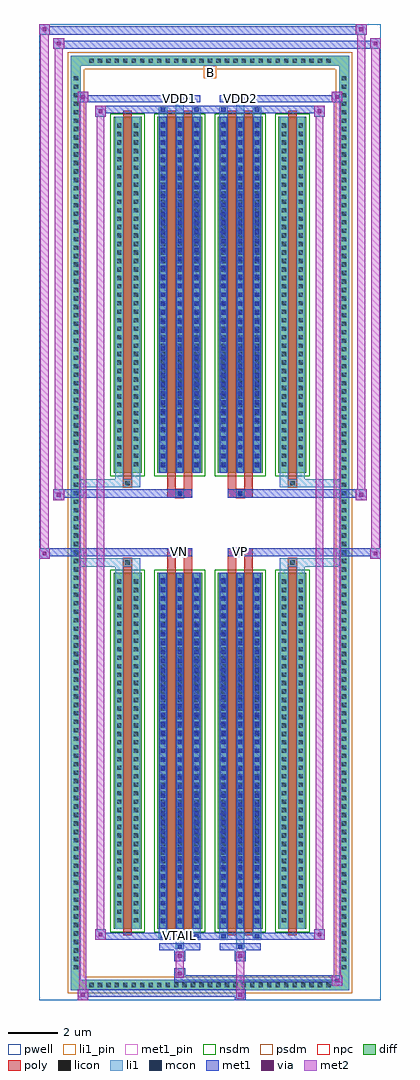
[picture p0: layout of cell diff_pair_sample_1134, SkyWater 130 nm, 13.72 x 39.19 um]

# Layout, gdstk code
import gdstk
lib = gdstk.Library(unit=1e-6, precision=5e-09)
def R(c, l, rs):  # rectangles x0, y0, x1, y1
    for r in rs: c.add(gdstk.rectangle(r[:2], r[2:], *l))
def A(c, l, x, y, w, h, nx, ny, dx, dy):  # array of equal rectangles
    R(c, l, [(x+i*dx, y+j*dy, x+i*dx+w, y+j*dy+h) for i in range(nx) for j in range(ny)])
def P(c, l, *ps):  # polygons
    for p in ps: c.add(gdstk.Polygon(p, *l))
pwell = (64, 44)
diff = (65, 20)
poly = (66, 20)
licon = (66, 44)
li1_pin = (67, 16)
li1 = (67, 20)
mcon = (67, 44)
met1_pin = (68, 16)
met1 = (68, 20)
via = (68, 44)
met2 = (69, 20)
nsdm = (93, 44)
psdm = (94, 20)
npc = (95, 20)

diff_pair_sample_1134 = lib.new_cell('diff_pair_sample_1134')
R(diff_pair_sample_1134, pwell, [(-6.86,-19.16,6.86,20.03), (-4.18,-17.35,-0.01,-0.815), (0.01,-17.35,4.18,-0.815), (-4.18,0.815,-0.01,17.35), (0.01,0.815,4.18,17.35)])
A(diff_pair_sample_1134, diff, -4.965, -18.76, 0.41, 0.41, 29, 2, 0.34, 37.11)
A(diff_pair_sample_1134, diff, -5.59, -18.055, 0.41, 0.41, 1, 106, 0, 0.34)
A(diff_pair_sample_1134, diff, 5.18, -18.055, 0.41, 0.41, 1, 106, 0, 0.34)
R(diff_pair_sample_1134, diff, [(-4.965,-18.76,4.965,-18.35), (-5.59,-18.055,-5.18,18.055), (5.18,-18.055,5.59,18.055), (-3.87,-16.305,-2.75,-2.005), (-2.11,-16.305,-0.32,-2.005), (0.32,-16.305,2.11,-2.005), (2.75,-16.305,3.87,-2.005), (-3.87,2.005,-2.75,16.305), (-2.11,2.005,-0.32,16.305), (0.32,2.005,2.11,16.305), (2.75,2.005,3.87,16.305), (-4.965,18.35,4.965,18.76)])
P(diff_pair_sample_1134, diff, [(5.59,18.76),(-5.59,18.76),(-5.59,-18.35),(-5.18,-18.35),(-5.18,18.35),(5.18,18.35),(5.18,-18.35),(-5.18,-18.35),(-5.59,-18.35),(-5.59,-18.76),(5.59,-18.76)])
R(diff_pair_sample_1134, poly, [(-3.48,-16.555,-3.14,-1.755), (-1.72,-16.555,-1.38,-1.755), (-1.05,-16.555,-0.71,-1.755), (0.71,-16.555,1.05,-1.755), (1.38,-16.555,1.72,-1.755), (3.14,-16.555,3.48,-1.755), (-3.475,-1.755,-3.145,-1.425), (-3.475,-1.755,-3.145,-1.425), (-1.72,-1.755,-1.38,-1.345), (-1.05,-1.755,-0.71,-1.345), (0.71,-1.755,1.05,-1.345), (1.38,-1.755,1.72,-1.345), (3.145,-1.755,3.475,-1.425), (3.145,-1.755,3.475,-1.425), (-1.72,-1.345,-0.71,-1.015), (-1.38,-1.345,-1.05,-1.015), (0.71,-1.345,1.72,-1.015), (1.05,-1.345,1.38,-1.015), (-1.72,1.015,-0.71,1.345), (-1.38,1.015,-1.05,1.345), (0.71,1.015,1.72,1.345), (1.05,1.015,1.38,1.345), (-1.72,1.345,-1.38,1.755), (-1.05,1.345,-0.71,1.755), (0.71,1.345,1.05,1.755), (1.38,1.345,1.72,1.755), (-3.475,1.425,-3.145,1.755), (-3.475,1.425,-3.145,1.755), (3.145,1.425,3.475,1.755), (3.145,1.425,3.475,1.755), (-3.48,1.755,-3.14,16.555), (-1.72,1.755,-1.38,16.555), (-1.05,1.755,-0.71,16.555), (0.71,1.755,1.05,16.555), (1.38,1.755,1.72,16.555), (3.14,1.755,3.48,16.555)])
A(diff_pair_sample_1134, licon, -4.845, -18.64, 0.17, 0.17, 29, 2, 0.34, 37.11)
A(diff_pair_sample_1134, licon, -5.47, -17.935, 0.17, 0.17, 1, 106, 0, 0.34)
A(diff_pair_sample_1134, licon, 5.3, -17.935, 0.17, 0.17, 1, 106, 0, 0.34)
A(diff_pair_sample_1134, licon, -3.73, -16.04, 0.17, 0.17, 1, 41, 0, 0.34)
A(diff_pair_sample_1134, licon, -3.06, -16.04, 0.17, 0.17, 1, 41, 0, 0.34)
A(diff_pair_sample_1134, licon, -1.97, -16.04, 0.17, 0.17, 3, 41, 0.67, 0.34)
A(diff_pair_sample_1134, licon, 0.46, -16.04, 0.17, 0.17, 3, 41, 0.67, 0.34)
A(diff_pair_sample_1134, licon, 2.89, -16.04, 0.17, 0.17, 1, 41, 0, 0.34)
A(diff_pair_sample_1134, licon, 3.56, -16.04, 0.17, 0.17, 1, 41, 0, 0.34)
A(diff_pair_sample_1134, licon, -3.73, 2.27, 0.17, 0.17, 1, 41, 0, 0.34)
A(diff_pair_sample_1134, licon, -3.06, 2.27, 0.17, 0.17, 1, 41, 0, 0.34)
A(diff_pair_sample_1134, licon, -1.97, 2.27, 0.17, 0.17, 3, 41, 0.67, 0.34)
A(diff_pair_sample_1134, licon, 0.46, 2.27, 0.17, 0.17, 3, 41, 0.67, 0.34)
A(diff_pair_sample_1134, licon, 2.89, 2.27, 0.17, 0.17, 1, 41, 0, 0.34)
A(diff_pair_sample_1134, licon, 3.56, 2.27, 0.17, 0.17, 1, 41, 0, 0.34)
R(diff_pair_sample_1134, licon, [(-3.395,-1.675,-3.225,-1.505), (3.225,-1.675,3.395,-1.505), (-1.3,-1.265,-1.13,-1.095), (1.13,-1.265,1.3,-1.095), (-1.3,1.095,-1.13,1.265), (1.13,1.095,1.3,1.265), (-3.395,1.505,-3.225,1.675), (3.225,1.505,3.395,1.675)])
R(diff_pair_sample_1134, li1_pin, [(-0.25,17.85,0.25,18.35)])
A(diff_pair_sample_1134, li1, -4.925, -18.72, 0.33, 0.33, 29, 2, 0.34, 37.11)
A(diff_pair_sample_1134, li1, -5.55, -18.015, 0.33, 0.33, 1, 106, 0, 0.34)
A(diff_pair_sample_1134, li1, 5.22, -18.015, 0.33, 0.33, 1, 106, 0, 0.34)
A(diff_pair_sample_1134, li1, -2.05, -16.305, 0.33, 14.3, 3, 2, 0.67, 18.31)
A(diff_pair_sample_1134, li1, 0.38, -16.305, 0.33, 14.3, 3, 2, 0.67, 18.31)
A(diff_pair_sample_1134, li1, -3.81, -16.12, 0.33, 0.33, 1, 41, 0, 0.34)
A(diff_pair_sample_1134, li1, -3.14, -16.12, 0.33, 0.33, 1, 41, 0, 0.34)
A(diff_pair_sample_1134, li1, -2.05, -16.12, 0.33, 0.33, 3, 41, 0.67, 0.34)
A(diff_pair_sample_1134, li1, 0.38, -16.12, 0.33, 0.33, 3, 41, 0.67, 0.34)
A(diff_pair_sample_1134, li1, 2.81, -16.12, 0.33, 0.33, 1, 41, 0, 0.34)
A(diff_pair_sample_1134, li1, 3.48, -16.12, 0.33, 0.33, 1, 41, 0, 0.34)
A(diff_pair_sample_1134, li1, -1.97, -16.08, 0.17, 0.17, 3, 39, 0.67, 0.36)
A(diff_pair_sample_1134, li1, -1.97, -16.08, 0.17, 13.85, 3, 2, 0.67, 18.31)
A(diff_pair_sample_1134, li1, 0.46, -16.08, 0.17, 0.17, 3, 39, 0.67, 0.36)
A(diff_pair_sample_1134, li1, 0.46, -16.08, 0.17, 13.85, 3, 2, 0.67, 18.31)
A(diff_pair_sample_1134, li1, -3.81, 2.19, 0.33, 0.33, 1, 41, 0, 0.34)
A(diff_pair_sample_1134, li1, -3.14, 2.19, 0.33, 0.33, 1, 41, 0, 0.34)
A(diff_pair_sample_1134, li1, -2.05, 2.19, 0.33, 0.33, 3, 41, 0.67, 0.34)
A(diff_pair_sample_1134, li1, 0.38, 2.19, 0.33, 0.33, 3, 41, 0.67, 0.34)
A(diff_pair_sample_1134, li1, 2.81, 2.19, 0.33, 0.33, 1, 41, 0, 0.34)
A(diff_pair_sample_1134, li1, 3.48, 2.19, 0.33, 0.33, 1, 41, 0, 0.34)
A(diff_pair_sample_1134, li1, -1.97, 2.23, 0.17, 0.17, 3, 39, 0.67, 0.36)
A(diff_pair_sample_1134, li1, 0.46, 2.23, 0.17, 0.17, 3, 39, 0.67, 0.36)
R(diff_pair_sample_1134, li1, [(-5.59,-18.76,-5.18,-18.35), (-5.59,-18.76,-5.18,-18.35), (-5.18,-18.76,5.18,-18.35), (5.18,-18.76,5.59,-18.35), (5.18,-18.76,5.59,-18.35), (-5.59,-18.35,-5.18,18.35), (5.18,-18.35,5.59,18.35), (-1.38,-17.11,-1.05,-16.305), (-1.3,-17.11,-1.13,-16.94), (1.05,-17.11,1.38,-16.305), (1.13,-17.11,1.3,-16.94), (-2.05,-16.68,-1.72,-16.305), (-1.97,-16.68,-1.8,-16.51), (-0.71,-16.68,-0.38,-16.305), (-0.63,-16.68,-0.46,-16.51), (0.38,-16.68,0.71,-16.305), (0.46,-16.68,0.63,-16.51), (1.72,-16.68,2.05,-16.305), (1.8,-16.68,1.97,-16.51), (-3.81,-16.305,-3.48,-2.005), (-3.14,-16.305,-2.81,-2.005), (2.81,-16.305,3.14,-2.005), (3.48,-16.305,3.81,-2.005), (-3.81,-2.005,-3.48,-1.425), (-3.14,-2.005,-2.81,-1.425), (2.81,-2.005,3.14,-1.425), (3.48,-2.005,3.81,-1.425), (-5.59,-1.755,-3.475,-1.425), (-3.81,-1.755,-3.475,-1.425), (-3.475,-1.755,-3.145,-1.425), (-3.145,-1.755,-2.81,-1.425), (2.81,-1.755,3.145,-1.425), (3.145,-1.755,3.475,-1.425), (3.145,-1.755,5.59,-1.425), (3.475,-1.755,3.81,-1.425), (-1.38,-1.345,-1.05,-1.015), (1.05,-1.345,1.38,-1.015), (-1.38,1.015,-1.05,1.345), (1.05,1.015,1.38,1.345), (-5.59,1.425,-3.475,1.755), (-3.81,1.425,-3.475,1.755), (-3.81,1.425,-3.48,2.005), (-3.475,1.425,-3.145,1.755), (-3.145,1.425,-2.81,1.755), (-3.14,1.425,-2.81,2.005), (2.81,1.425,3.145,1.755), (2.81,1.425,3.14,2.005), (3.145,1.425,3.475,1.755), (3.145,1.425,5.59,1.755), (3.475,1.425,3.81,1.755), (3.48,1.425,3.81,2.005), (-3.81,2.005,-3.48,16.305), (-3.14,2.005,-2.81,16.305), (2.81,2.005,3.14,16.305), (3.48,2.005,3.81,16.305), (-2.05,16.305,-1.72,16.68), (-1.38,16.305,-1.05,17.11), (-0.71,16.305,-0.38,16.68), (0.38,16.305,0.71,16.68), (1.05,16.305,1.38,17.11), (1.72,16.305,2.05,16.68), (-1.97,16.51,-1.8,16.68), (-0.63,16.51,-0.46,16.68), (0.46,16.51,0.63,16.68), (1.8,16.51,1.97,16.68), (-1.3,16.94,-1.13,17.11), (1.13,16.94,1.3,17.11), (-5.59,18.35,-5.18,18.76), (-5.59,18.35,-5.18,18.76), (-5.18,18.35,5.18,18.76), (5.18,18.35,5.59,18.76), (5.18,18.35,5.59,18.76)])
A(diff_pair_sample_1134, mcon, -1.97, -16.08, 0.17, 0.17, 3, 39, 0.67, 0.36)
A(diff_pair_sample_1134, mcon, 0.46, -16.08, 0.17, 0.17, 3, 39, 0.67, 0.36)
A(diff_pair_sample_1134, mcon, -1.97, 2.23, 0.17, 0.17, 3, 39, 0.67, 0.36)
A(diff_pair_sample_1134, mcon, 0.46, 2.23, 0.17, 0.17, 3, 39, 0.67, 0.36)
R(diff_pair_sample_1134, mcon, [(-1.3,-17.11,-1.13,-16.94), (1.13,-17.11,1.3,-16.94), (-1.97,-16.68,-1.8,-16.51), (-0.63,-16.68,-0.46,-16.51), (0.46,-16.68,0.63,-16.51), (1.8,-16.68,1.97,-16.51), (-1.3,-1.265,-1.13,-1.095), (1.13,-1.265,1.3,-1.095), (-1.3,1.095,-1.13,1.265), (1.13,1.095,1.3,1.265), (-1.97,16.51,-1.8,16.68), (-0.63,16.51,-0.46,16.68), (0.46,16.51,0.63,16.68), (1.8,16.51,1.97,16.68), (-1.3,16.94,-1.13,17.11), (1.13,16.94,1.3,17.11)])
R(diff_pair_sample_1134, met1_pin, [(-1.35,-16.72,-1.08,-16.45), (-1.35,-1.285,-1.08,-1.015), (1.08,-1.285,1.35,-1.015), (-1.35,16.9,-1.08,17.17), (1.08,16.9,1.35,17.17)])
A(diff_pair_sample_1134, met1, -2.03, -16.305, 0.29, 14.3, 3, 2, 0.67, 18.31)
A(diff_pair_sample_1134, met1, 0.4, -16.305, 0.29, 14.3, 3, 2, 0.67, 18.31)
A(diff_pair_sample_1134, met1, -2.03, -16.14, 0.29, 0.29, 3, 39, 0.67, 0.36)
A(diff_pair_sample_1134, met1, 0.4, -16.14, 0.29, 0.29, 3, 39, 0.67, 0.36)
A(diff_pair_sample_1134, met1, -2.03, 2.17, 0.29, 0.29, 3, 39, 0.67, 0.36)
A(diff_pair_sample_1134, met1, 0.4, 2.17, 0.29, 0.29, 3, 39, 0.67, 0.36)
R(diff_pair_sample_1134, met1, [(-5.32,-19.16,-4.89,-18.73), (1,-19.16,1.43,-18.73), (-5.32,-19.02,1.43,-18.73), (4.89,-18.59,5.32,-18.16), (-1.43,-18.45,5.32,-18.16), (-1.43,-18.31,-1,-17.88), (-1.43,-17.6,-1,-17.17), (1,-17.6,1.43,-17.17), (-2.03,-17.17,-0.4,-16.88), (-1.36,-17.17,-1.07,-16.88), (0.4,-17.17,2.03,-16.88), (1.07,-17.17,1.36,-16.88), (-4.61,-16.74,-4.18,-16.31), (-4.61,-16.74,-2.03,-16.45), (-2.03,-16.74,-1.74,-16.45), (-2.03,-16.74,-0.4,-16.45), (-0.69,-16.74,-0.4,-16.45), (-0.4,-16.74,0.4,-16.45), (0.4,-16.74,0.69,-16.45), (0.4,-16.74,2.03,-16.45), (1.74,-16.74,2.03,-16.45), (2.03,-16.74,4.61,-16.45), (4.18,-16.74,4.61,-16.31), (-6.86,-1.445,-6.43,-1.015), (6.43,-1.445,6.86,-1.015), (-6.86,-1.345,-0.71,-1.015), (-1.72,-1.345,-0.71,-1.015), (0.71,-1.345,1.72,-1.015), (0.71,-1.345,6.86,-1.015), (-1.36,-1.325,-1.07,-1.035), (1.07,-1.325,1.36,-1.035), (-6.29,0.915,-5.86,1.345), (5.86,0.915,6.29,1.345), (-6.29,1.015,-1.72,1.345), (-1.72,1.015,-0.71,1.345), (0.71,1.015,1.72,1.345), (1.72,1.015,6.29,1.345), (-1.36,1.035,-1.07,1.325), (1.07,1.035,1.36,1.325), (-4.61,16.31,-4.18,16.74), (4.18,16.31,4.61,16.74), (-4.61,16.45,-2.03,16.74), (-2.03,16.45,-1.74,16.74), (-2.03,16.45,-0.4,16.74), (-0.69,16.45,-0.4,16.74), (-0.4,16.45,0.4,16.74), (0.4,16.45,0.69,16.74), (0.4,16.45,2.03,16.74), (1.74,16.45,2.03,16.74), (2.03,16.45,4.61,16.74), (-5.32,16.88,-4.89,17.31), (-5.32,16.88,-2.03,17.17), (-2.03,16.88,-0.4,17.17), (-1.36,16.88,-1.07,17.17), (0.4,16.88,2.03,17.17), (1.07,16.88,1.36,17.17), (2.03,16.88,5.32,17.17), (4.89,16.88,5.32,17.31), (-6.29,19.03,-5.86,19.46), (-6.29,19.03,-4.18,19.36), (-4.18,19.03,4.18,19.36), (4.18,19.03,6.86,19.36), (6.43,19.03,6.86,19.46), (-6.86,19.6,-6.43,20.03), (-6.86,19.6,-4.18,19.93), (-4.18,19.6,4.18,19.93), (4.18,19.6,6.29,19.93), (5.86,19.6,6.29,20.03)])
R(diff_pair_sample_1134, via, [(-5.18,-19.02,-5.03,-18.87), (1.14,-19.02,1.29,-18.87), (5.03,-18.45,5.18,-18.3), (-1.29,-18.17,-1.14,-18.02), (-1.29,-17.46,-1.14,-17.31), (1.14,-17.46,1.29,-17.31), (-4.47,-16.6,-4.32,-16.45), (4.32,-16.6,4.47,-16.45), (-6.72,-1.305,-6.57,-1.155), (6.57,-1.305,6.72,-1.155), (-6.15,1.055,-6,1.205), (6,1.055,6.15,1.205), (-4.47,16.45,-4.32,16.6), (4.32,16.45,4.47,16.6), (-5.18,17.02,-5.03,17.17), (5.03,17.02,5.18,17.17), (-6.15,19.17,-6,19.32), (6.57,19.17,6.72,19.32), (-6.72,19.74,-6.57,19.89), (6,19.74,6.15,19.89)])
R(diff_pair_sample_1134, met2, [(-5.32,-19.16,-4.89,-18.73), (-5.25,-19.16,-4.96,17.31), (-4.96,-19.16,-4.89,-18.73), (-5.27,-19.11,-4.94,-18.78), (1.05,-19.11,1.38,-18.78), (1.05,-18.78,1.38,-17.55), (4.89,-18.59,5.32,-18.16), (4.96,-18.59,5.25,17.31), (5.25,-18.59,5.32,-18.16), (4.94,-18.54,5.27,-18.21), (-1.38,-18.26,-1.05,-17.93), (-1.38,-17.93,-1.05,-17.55), (-1.38,-17.55,-1.05,-17.22), (1.05,-17.55,1.38,-17.22), (-4.61,-16.74,-4.18,-16.31), (-4.54,-16.74,-4.25,16.74), (-4.25,-16.74,-4.18,-16.31), (4.18,-16.74,4.61,-16.31), (4.25,-16.74,4.54,16.74), (4.54,-16.74,4.61,-16.31), (-4.56,-16.69,-4.23,-16.36), (4.23,-16.69,4.56,-16.36), (-6.86,-1.445,-6.43,-1.015), (-6.81,-1.445,-6.48,20.03), (-6.48,-1.445,-6.43,-1.015), (6.43,-1.445,6.86,-1.015), (6.48,-1.445,6.81,19.46), (6.81,-1.445,6.86,-1.015), (-6.81,-1.395,-6.48,-1.065), (6.48,-1.395,6.81,-1.065), (-6.29,0.915,-5.86,1.345), (-6.24,0.915,-5.91,19.46), (-5.91,0.915,-5.86,1.345), (5.86,0.915,6.29,1.345), (5.91,0.915,6.24,20.03), (6.24,0.915,6.29,1.345), (-6.24,0.965,-5.91,1.295), (5.91,0.965,6.24,1.295), (-4.61,16.31,-4.18,16.74), (-4.25,16.31,-4.18,16.74), (4.18,16.31,4.61,16.74), (4.54,16.31,4.61,16.74), (-4.56,16.36,-4.23,16.69), (4.23,16.36,4.56,16.69), (-5.32,16.88,-4.89,17.31), (-4.96,16.88,-4.89,17.31), (4.89,16.88,5.32,17.31), (5.25,16.88,5.32,17.31), (-5.27,16.93,-4.94,17.26), (4.94,16.93,5.27,17.26), (-6.29,19.03,-5.86,19.46), (-5.91,19.03,-5.86,19.46), (6.43,19.03,6.86,19.46), (6.81,19.03,6.86,19.46), (-6.24,19.08,-5.91,19.41), (6.48,19.08,6.81,19.41), (-6.86,19.6,-6.43,20.03), (-6.48,19.6,-6.43,20.03), (5.86,19.6,6.29,20.03), (6.24,19.6,6.29,20.03), (-6.81,19.65,-6.48,19.98), (5.91,19.65,6.24,19.98)])
R(diff_pair_sample_1134, nsdm, [(-4,-16.435,-2.62,-1.875), (-2.24,-16.435,-0.19,-1.875), (0.19,-16.435,2.24,-1.875), (2.62,-16.435,4,-1.875), (-4,1.875,-2.62,16.435), (-2.24,1.875,-0.19,16.435), (0.19,1.875,2.24,16.435), (2.62,1.875,4,16.435)])
P(diff_pair_sample_1134, psdm, [(5.72,18.89),(-5.72,18.89),(-5.72,-18.22),(-5.05,-18.22),(-5.05,18.22),(5.05,18.22),(5.05,-18.22),(-5.05,-18.22),(-5.72,-18.22),(-5.72,-18.89),(5.72,-18.89)])
R(diff_pair_sample_1134, npc, [(-3.495,-1.775,-3.125,-1.405), (3.125,-1.775,3.495,-1.405), (-1.4,-1.365,-1.03,-0.995), (1.03,-1.365,1.4,-0.995), (-1.4,0.995,-1.03,1.365), (1.03,0.995,1.4,1.365), (-3.495,1.405,-3.125,1.775), (3.125,1.405,3.495,1.775)])
diff_pair_sample_1134.add(gdstk.Label('VTAIL', (-1.215,-16.585), layer=68, texttype=5))
diff_pair_sample_1134.add(gdstk.Label('VN', (-1.215,-1.15), layer=68, texttype=5))
diff_pair_sample_1134.add(gdstk.Label('VP', (1.215,-1.15), layer=68, texttype=5))
diff_pair_sample_1134.add(gdstk.Label('B', (0,18.1), layer=67, texttype=5))
diff_pair_sample_1134.add(gdstk.Label('VDD2', (1.215,17.035), layer=68, texttype=5))
diff_pair_sample_1134.add(gdstk.Label('VDD1', (-1.215,17.035), layer=68, texttype=5))

lib.write_gds('diff_pair_sample_1134.gds')
